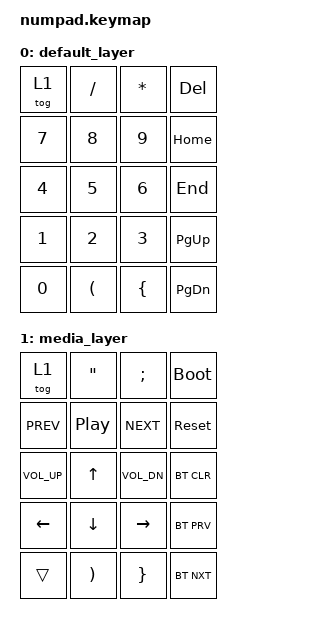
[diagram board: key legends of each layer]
/* numpad.keymap */

#include <behaviors.dtsi>
#include <dt-bindings/zmk/keys.h>
#include <dt-bindings/zmk/bt.h>
#include <dt-bindings/zmk/outputs.h>

/ {
    keymap {
        compatible = "zmk,keymap";

        /* KATMAN 0: Varsayılan Numpad */
        default_layer {
            bindings = <
                &tog 1     &kp FSLH   &kp STAR   &kp DEL
                &kp N7     &kp N8     &kp N9     &kp HOME
                &kp N4     &kp N5     &kp N6     &kp END
                &kp N1     &kp N2     &kp N3     &kp PG_UP
                &kp N0     &kp LPAR   &kp LBRC   &kp PG_DN
            >;
        };

        /* KATMAN 1: Medya ve Ayarlar */
        media_layer {
            bindings = <
                &tog 1          &kp DQT      &kp SEMI        &bootloader
                &kp C_PREV      &kp C_PP     &kp C_NEXT      &sys_reset
                &kp C_VOL_UP    &kp UP       &kp C_VOL_DN    &bt BT_CLR
                &kp LEFT        &kp DOWN     &kp RIGHT       &bt BT_PRV
                &trans          &kp RPAR     &kp RBRC        &bt BT_NXT
            >;
        };
    };
};
